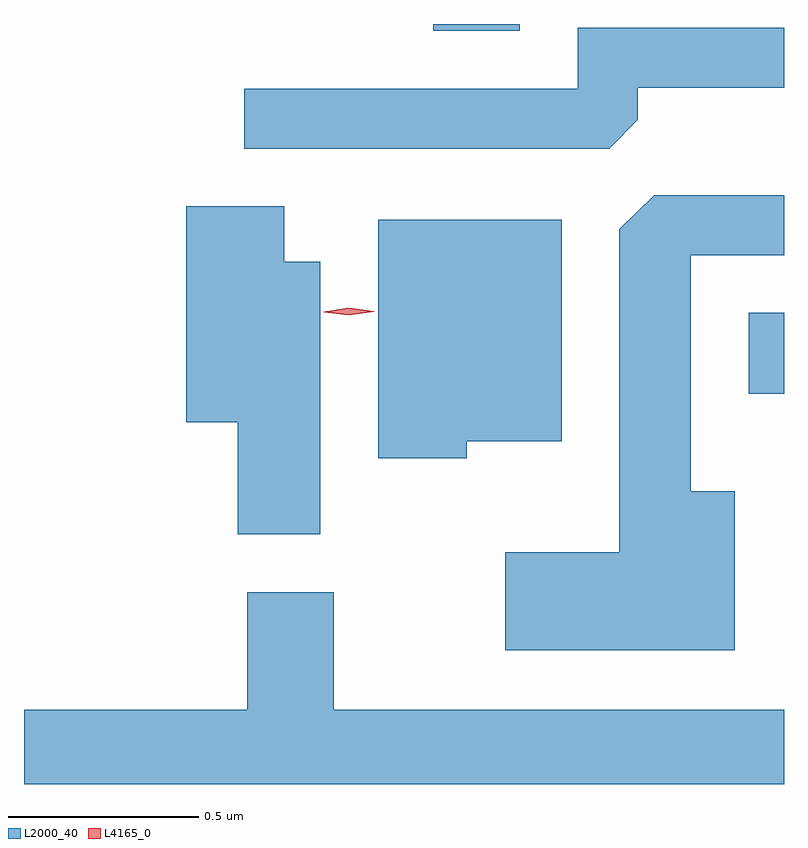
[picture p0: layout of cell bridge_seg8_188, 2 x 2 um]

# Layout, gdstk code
import gdstk
lib = gdstk.Library(unit=1e-6, precision=1e-09)
def R(c, l, rs):  # rectangles x0, y0, x1, y1
    for r in rs: c.add(gdstk.rectangle(r[:2], r[2:], *l))
def P(c, l, *ps):  # polygons
    for p in ps: c.add(gdstk.Polygon(p, *l))
L2000_40 = (2000, 40)
L4165_0 = (4165, 0)

bridge_seg8_188 = lib.new_cell('bridge_seg8_188')
R(bridge_seg8_188, L2000_40, [(1142.751,1888.576,1142.844,1888.789), (1141.921,1889.531,1142.149,1889.549)])
P(bridge_seg8_188, L2000_40, [(1142.459,1889.297),(1142.459,1889.381),(1142.844,1889.381),(1142.844,1889.539),(1142.301,1889.539),(1142.301,1889.379),(1141.423,1889.379),(1141.423,1889.221),(1142.384,1889.221)],
  [(1142.714,1888.319),(1142.599,1888.319),(1142.599,1888.941),(1142.844,1888.941),(1142.844,1889.099),(1142.502,1889.099),(1142.411,1889.009),(1142.411,1888.159),(1142.111,1888.159),(1142.111,1887.901),(1142.714,1887.901)],
  [(1141.624,1888.924),(1141.529,1888.924),(1141.529,1889.069),(1141.271,1889.069),(1141.271,1888.501),(1141.406,1888.501),(1141.406,1888.206),(1141.624,1888.206)],
  [(1142.009,1888.451),(1142.259,1888.451),(1142.259,1889.034),(1141.776,1889.034),(1141.776,1888.406),(1142.009,1888.406)],
  [(1142.844,1887.744),(1141.659,1887.744),(1141.659,1888.054),(1141.431,1888.054),(1141.431,1887.744),(1140.844,1887.744),(1140.844,1887.549),(1142.844,1887.549)])
P(bridge_seg8_188, L4165_0, [(1141.699,1888.782),(1141.633,1888.791),(1141.633,1888.791),(1141.633,1888.792),(1141.699,1888.802),(1141.765,1888.793),(1141.766,1888.792),(1141.765,1888.792)])

lib.write_gds('bridge_seg8_188.gds')
